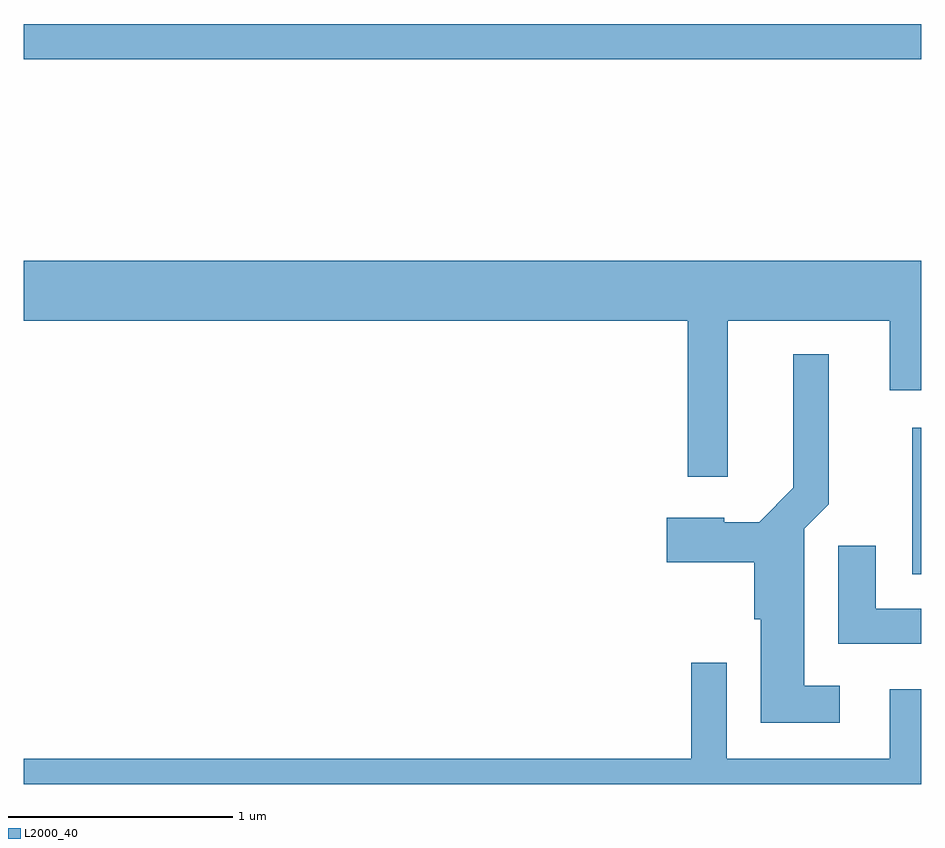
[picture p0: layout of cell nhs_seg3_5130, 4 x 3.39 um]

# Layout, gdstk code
import gdstk
lib = gdstk.Library(unit=1e-6, precision=1e-09)
def R(c, l, rs):  # rectangles x0, y0, x1, y1
    for r in rs: c.add(gdstk.rectangle(r[:2], r[2:], *l))
def P(c, l, *ps):  # polygons
    for p in ps: c.add(gdstk.Polygon(p, *l))
L2000_40 = (2000, 40)

nhs_seg3_5130 = lib.new_cell('nhs_seg3_5130')
R(nhs_seg3_5130, L2000_40, [(339.571,1184.826,339.611,1185.479), (335.611,1187.121,339.611,1187.279)])
P(nhs_seg3_5130, L2000_40, [(338.749,1185.956),(339.471,1185.956),(339.471,1185.646),(339.611,1185.646),(339.611,1186.224),(335.611,1186.224),(335.611,1185.956),(338.571,1185.956),(338.571,1185.261),(338.749,1185.261)],
  [(339.248,1184.329),(339.089,1184.329),(339.089,1185.029),(339.199,1185.139),(339.199,1185.808),(339.041,1185.808),(339.041,1185.212),(338.889,1185.059),(338.734,1185.059),(338.734,1185.079),(338.476,1185.079),(338.476,1184.881),(338.866,1184.881),(338.866,1184.626),(338.896,1184.626),(338.896,1184.166),(339.248,1184.166)],
  [(339.611,1184.674),(339.409,1184.674),(339.409,1184.953),(339.241,1184.953),(339.241,1184.516),(339.611,1184.516)],
  [(339.611,1184.314),(339.471,1184.314),(339.471,1184.004),(338.744,1184.004),(338.744,1184.433),(338.586,1184.433),(338.586,1184.004),(335.611,1184.004),(335.611,1183.892),(339.611,1183.892)])

lib.write_gds('nhs_seg3_5130.gds')
